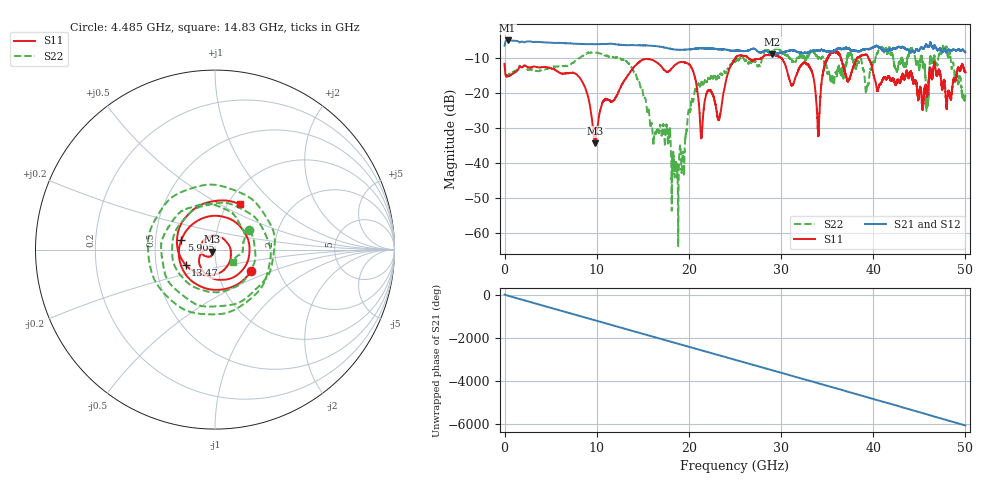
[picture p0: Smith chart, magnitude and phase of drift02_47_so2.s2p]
!Created with skrf (http://scikit-rf.org).
# Hz S RI R 50.0
!freq ReS11 ImS11 ReS21 ImS21 ReS12 ImS12 ReS22 ImS22
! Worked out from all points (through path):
!   10001 points, 300 kHz to 50 GHz, reference 50 ohm
!   highest |S21| = -5.04 dB at 325.3 MHz (marker M1); lowest = -9.0 dB at 29.05 GHz (marker M2)
!   group delay of S21, straight-line fit = 336 ps
!   lowest |S11| = -34.4 dB at 9.85 GHz (marker M3), VSWR 1.04, Z = 48.5 - j1.12 ohm
!   |S11| at or under -10 dB: start of sweep to 25.06 GHz; 29.97 GHz to 35.05 GHz (5.081 GHz wide, 15.6 % of centre); 39.48 GHz to end of sweep (the widest 3 of 9)
!   |S22| runs from -63.8 to -6.5 dB; largest |S21 - S12| = 0.021
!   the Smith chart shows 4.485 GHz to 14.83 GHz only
!   S11 on the Smith chart (normalised r, x): 4.485 GHz: 1.45, -0.36; 5.905 GHz: 0.68, +0.08; 13.47 GHz: 0.71, -0.12; 14.83 GHz: 1.14, +0.63
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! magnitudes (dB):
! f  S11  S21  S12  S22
! 300 kHz  -11.7  -6.5  -6.4  -11.5
! 325.3 MHz  -15.4  -5.0  -5.0  -15.0
! 4.485 GHz  -12.7  -5.6  -5.6  -13.2
! 5.905 GHz  -14.2  -5.7  -5.7  -12.4
! 8.335 GHz  -16.4  -6.0  -6.0  -9.6
! 9.85 GHz  -34.4  -6.1  -6.1  -8.6
! 13.47 GHz  -14.7  -6.4  -6.4  -11.6
! 14.83 GHz  -10.8  -6.4  -6.4  -18.5
! 16.67 GHz  -11.6  -6.7  -6.7  -30.9
! 18.67 GHz  -11.7  -7.7  -7.7  -40.6
! 20.37 GHz  -13.3  -7.5  -7.5  -21.9
! 21.37 GHz  -32.6  -7.3  -7.2  -17.0
! 23.31 GHz  -27.4  -7.5  -7.6  -15.6
! 25 GHz  -10.3  -7.9  -8.0  -11.2
! 29.05 GHz  -9.1  -9.0  -9.0  -8.2
! 33.34 GHz  -14.0  -8.1  -8.1  -8.1
! 34.02 GHz  -32.3  -7.9  -7.9  -10.2
! 35.54 GHz  -8.4  -8.1  -8.1  -15.3
! 41.67 GHz  -15.3  -7.7  -7.7  -7.5
! 45.86 GHz  -20.6  -6.7  -6.8  -21.1
! 47.76 GHz  -16.9  -7.5  -7.5  -7.6
! 50 GHz  -14.1  -8.4  -8.4  -20.5
